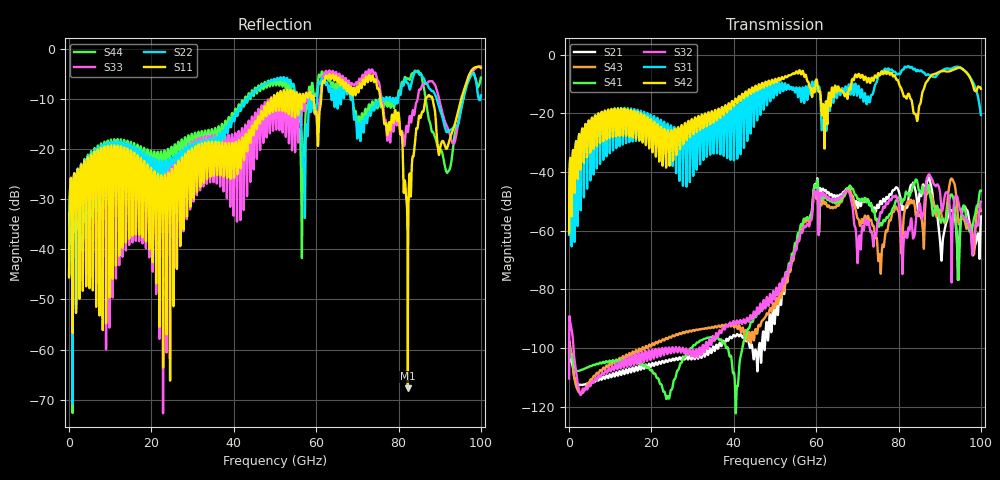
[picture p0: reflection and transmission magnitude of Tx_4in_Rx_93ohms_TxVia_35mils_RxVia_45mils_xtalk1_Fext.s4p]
! Info: Touchstone file created by Circ.  Input file=Tx_4in_Rx_93ohms_TxVia_35mils_RxVia_45mils.circ
# Hz S RI R 50
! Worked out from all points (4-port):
!   10000 points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, 10 MHz to 100 GHz, reference 50 ohm
!   strongest paths, dB at 10 MHz, 25.01 GHz, 50.01 GHz, 75.01 GHz, 100 GHz:
!     S42: -60.8, -27.6, -8.4, -6.4, -11.6
!     S31: -61.4, -29.6, -9.7, -7.7, -20.5
!     S32: -110.4, -99.8, -83.4, -56.8, -50.1
!     S41: -101.5, -114.0, -81.8, -57.6, -46.3
!     S43: -101.0, -96.0, -86.0, -69.4, -53.2
!     S21: -101.8, -103.9, -90.0, -51.8, -55.1
!   lowest |S11| = -67.7 dB at 82.27 GHz (marker M1), VSWR 1.00, Z = 50 - j0.0404 ohm
!   |S11| at or under -10 dB: start of sweep to 48.97 GHz; 75.58 GHz to 86.56 GHz (10.98 GHz wide, 13.5 % of centre); 88.27 GHz to 95.21 GHz (6.938 GHz wide, 7.56 % of centre)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
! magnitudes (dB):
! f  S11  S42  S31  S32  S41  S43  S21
! 10 MHz  -45.6  -60.8  -61.4  -110.4  -101.5  -101.0  -101.8
! 7.52 GHz  -25.6  -30.2  -37.0  -109.8  -105.0  -107.5  -110.2
! 51.89 GHz  -11.3  -8.0  -11.6  -76.3  -76.8  -78.6  -78.6
! 56.66 GHz  -9.4  -5.6  -11.3  -60.5  -57.8  -59.0  -58.6
! 62.89 GHz  -5.9  -16.4  -14.8  -48.7  -49.3  -51.6  -46.9
! 82.27 GHz  -67.7  -13.5  -3.9  -60.6  -47.2  -49.9  -50.8
! 100 GHz  -3.8  -11.6  -20.5  -50.1  -46.3  -53.2  -55.1
